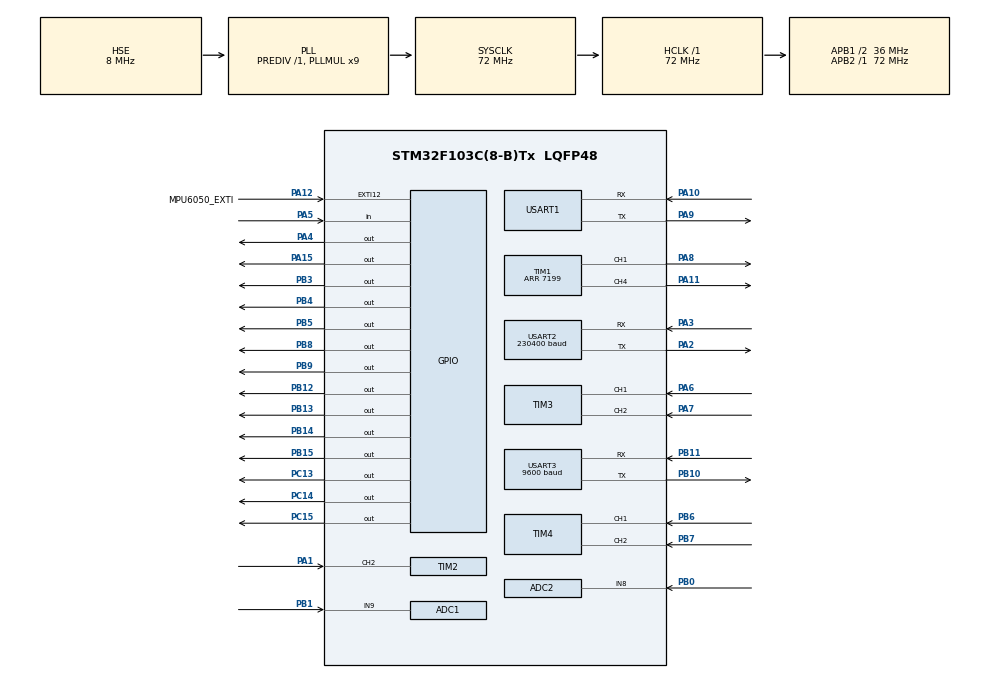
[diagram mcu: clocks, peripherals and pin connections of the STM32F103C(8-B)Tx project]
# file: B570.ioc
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ADC1.Channel-1\#ChannelRegularConversion=ADC_CHANNEL_9
ADC1.NbrOfConversionFlag=1
ADC1.Rank-1\#ChannelRegularConversion=1
ADC1.SamplingTime-1\#ChannelRegularConversion=ADC_SAMPLETIME_1CYCLE_5
ADC1.master=1
ADC2.Channel-0\#ChannelRegularConversion=ADC_CHANNEL_8
ADC2.NbrOfConversionFlag=1
ADC2.Rank-0\#ChannelRegularConversion=1
ADC2.SamplingTime-0\#ChannelRegularConversion=ADC_SAMPLETIME_1CYCLE_5
Mcu.Family=STM32F1
Mcu.Name=STM32F103C(8-B)Tx
Mcu.Package=LQFP48
NVIC.EXTI15_10_IRQn=true\:2\:1\:true\:false\:true\:true\:true
NVIC.PriorityGroup=NVIC_PRIORITYGROUP_2
NVIC.TIM2_IRQn=true\:1\:1\:true\:false\:true\:true\:true
NVIC.TIM3_IRQn=true\:1\:1\:true\:false\:true\:true\:true
NVIC.TIM4_IRQn=true\:1\:1\:true\:false\:true\:true\:true
NVIC.USART1_IRQn=true\:1\:1\:true\:false\:true\:true\:true
NVIC.USART2_IRQn=true\:1\:1\:true\:false\:true\:true\:true
NVIC.USART3_IRQn=true\:1\:1\:true\:false\:true\:true\:true
PA1.Signal=S_TIM2_CH2
PA10.Mode=Asynchronous
PA10.Signal=USART1_RX
PA11.Signal=S_TIM1_CH4
PA12.GPIO_Label=MPU6050_EXTI
PA12.Signal=GPXTI12
PA15.Signal=GPIO_Output
PA2.Mode=Asynchronous
PA2.Signal=USART2_TX
PA3.Mode=Asynchronous
PA3.Signal=USART2_RX
PA4.Signal=GPIO_Output
PA5.Signal=GPIO_Input
PA6.Signal=S_TIM3_CH1
PA7.Signal=S_TIM3_CH2
PA8.Signal=S_TIM1_CH1
PA9.Mode=Asynchronous
PA9.Signal=USART1_TX
PB0.Signal=ADCx_IN8
PB1.Signal=ADCx_IN9
PB10.Mode=Asynchronous
PB10.Signal=USART3_TX
PB11.Mode=Asynchronous
PB11.Signal=USART3_RX
PB12.Signal=GPIO_Output
PB13.Signal=GPIO_Output
PB14.Signal=GPIO_Output
PB15.Signal=GPIO_Output
PB3.Signal=GPIO_Output
PB4.Signal=GPIO_Output
PB5.Signal=GPIO_Output
PB6.Signal=S_TIM4_CH1
PB7.Signal=S_TIM4_CH2
PB8.Signal=GPIO_Output
PB9.Signal=GPIO_Output
PC13-TAMPER-RTC.Signal=GPIO_Output
PC14-OSC32_IN.Signal=GPIO_Output
PC15-OSC32_OUT.Signal=GPIO_Output
PD0-OSC_IN.Mode=HSE-External-Oscillator
PD0-OSC_IN.Signal=RCC_OSC_IN
PD1-OSC_OUT.Mode=HSE-External-Oscillator
PD1-OSC_OUT.Signal=RCC_OSC_OUT
ProjectManager.HeapSize=0x200
ProjectManager.StackSize=0x400
ProjectManager.TargetToolchain=MDK-ARM V5.32
RCC.ADCPresc=RCC_ADCPCLK2_DIV6
RCC.AHBFreq_Value=72000000
RCC.APB1CLKDivider=RCC_HCLK_DIV2
RCC.APB1Freq_Value=36000000
RCC.APB1TimFreq_Value=72000000
RCC.APB2Freq_Value=72000000
RCC.APB2TimFreq_Value=72000000
RCC.HCLKFreq_Value=72000000
RCC.PLLMUL=RCC_PLL_MUL9
RCC.PLLSourceVirtual=RCC_PLLSOURCE_HSE
RCC.SYSCLKFreq_VALUE=72000000
RCC.SYSCLKSource=RCC_SYSCLKSOURCE_PLLCLK
RCC.USBFreq_Value=72000000
SH.ADCx_IN8.0=ADC2_IN8,IN8
SH.ADCx_IN9.0=ADC1_IN9,IN9
SH.S_TIM1_CH1.0=TIM1_CH1,PWM Generation1 CH1
SH.S_TIM1_CH4.0=TIM1_CH4,PWM Generation4 CH4
SH.S_TIM2_CH2.0=TIM2_CH2,Input_Capture2_from_TI2
SH.S_TIM3_CH1.0=TIM3_CH1,Encoder_Interface
SH.S_TIM3_CH2.0=TIM3_CH2,Encoder_Interface
SH.S_TIM4_CH1.0=TIM4_CH1,Encoder_Interface
SH.S_TIM4_CH2.0=TIM4_CH2,Encoder_Interface
TIM1.AutoReloadPreload=TIM_AUTORELOAD_PRELOAD_ENABLE
TIM1.Channel-PWM\ Generation1\ CH1=TIM_CHANNEL_1
TIM1.Channel-PWM\ Generation4\ CH4=TIM_CHANNEL_4
TIM1.Period=7199
TIM2.Channel-Input_Capture2_from_TI2=TIM_CHANNEL_2
TIM2.Prescaler=71
TIM3.EncoderMode=TIM_ENCODERMODE_TI12
TIM4.EncoderMode=TIM_ENCODERMODE_TI12
USART1.VirtualMode=VM_ASYNC
USART2.BaudRate=230400
USART2.VirtualMode=VM_ASYNC
USART3.BaudRate=9600
USART3.VirtualMode=VM_ASYNC
VP_SYS_VS_ND.Mode=No_Debug
board=custom

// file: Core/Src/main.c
/* USER CODE BEGIN Header */
/**
  ******************************************************************************
  * @file           : main.c
  * @brief          : Main program body
  ******************************************************************************
  * @attention
  *
  * <h2><center>&copy; Copyright (c) 2021 STMicroelectronics.
  * All rights reserved.</center></h2>
  *
  * This software component is licensed by ST under BSD 3-Clause license,
  * the "License"; You may not use this file except in compliance with the
  * License. You may obtain a copy of the License at:
  *                        opensource.org/licenses/BSD-3-Clause
  *
  ******************************************************************************
  */
/* USER CODE END Header */
#include "main.h"
#include "adc.h"
#include "tim.h"
#include "usart.h"
#include "gpio.h"

/* USER CODE BEGIN Includes */
#include "sys.h"
#include "usart3.h"
/* USER CODE END Includes */

/* USER CODE BEGIN PTD */
u8 Way_Angle=2;                             //???????????1???????  2????????  3?????????
u8 Flag_front,Flag_back,Flag_Left,Flag_Right,Flag_velocity=2; //??????????????
u8 Flag_Stop=1,Flag_Show=0;                 //????????????????????  ????? ?????
int Motor_Left,Motor_Right;                 //???PWM???? ???Motor?? ??Moto???
int Temperature;                            //??????
int Voltage,Middle_angle;                   //????????????????
float Angle_Balance,Gyro_Balance,Gyro_Turn; //?????? ????????? ?????????
u8 LD_Successful_Receive_flag;              //?????????????????
u8 Mode = Cooperative_Mode;				//????????????
u8 CCD_Zhongzhi,CCD_Yuzhi;                  //CCD????????
u16 ADV[128]={0};                           //???CCD???????????
u16 determine;                              //??????????????????
float Move_X,Move_Z;			            //??????????
u32 Distance;                               //?????????
u8 PID_Send; 					                    	//??????????
u8 Flash_Send;                                       //Flash??????
u8 Flag_follow=0,Flag_avoid=0;							//?????????????????????????
float Acceleration_Z;                       //Z???????
volatile u8 delay_flag,delay_50;            //??????????
float Balance_Kp=25500,Balance_Kd=135,Velocity_Kp=16000,Velocity_Ki=80,Turn_Kp=4200,Turn_Kd=60;//PID?????????100??
float Yaw_Kp=360.0f,Yaw_Kd=24.0f;                    //?????PD????
int   Yaw_Limit=5000;                                  //??????????
u8 Cooperative_Mode_Flag=0;
u8 Last_Sent_Cmd=0;

/* USER CODE END PTD */

void SystemClock_Config(void);

int main(void)
{

  /* MCU Configuration--------------------------------------------------------*/

  /* Reset of all peripherals, Initializes the Flash interface and the Systick. */
  HAL_Init();

  /* Configure the system clock */
  SystemClock_Config();

  /* Initialize all configured peripherals */
  MX_GPIO_Init();
  MX_ADC1_Init();
  MX_ADC2_Init();
  MX_TIM1_Init();
  MX_TIM3_Init();
  MX_TIM4_Init();
  MX_USART1_UART_Init();
  MX_USART2_UART_Init();  //JDY-33 ???????
  MX_USART3_UART_Init();  //HC-05 ???????
  /* USER CODE BEGIN 2 */
	JTAG_Set(JTAG_SWD_DISABLE);     //???JTAG???
	JTAG_Set(SWD_ENABLE);           //??SWD??? ?????????????SWD??????
  delay_init();                   //???????????
  OLED_Init();                    //OLED?????
  MPU6050_initialize();           //MPU6050?????
	DMP_Init();                     //?????DMP
    while(Choose()) { }
	if(Mode==Ultrasonic_Avoid_Mode||Mode==Ultrasonic_Follow_Mode)
		  MX_TIM2_Init(); //???????????CCD??ELE???????????????CCD??ELE??????????????????????
	if(Mode==CCD_Line_Patrol_Mode)
		CCD_Init();
	if(Mode==ELE_Line_Patrol_Mode)
		ELE_Init();
	HAL_NVIC_EnableIRQ(EXTI15_10_IRQn); //??????????????
  /* USER CODE END 2 */

  /* Infinite loop */
  while (1)
  {

    /* USER CODE BEGIN 3 */
	  if(Flag_Show==0)          		//???MiniBalance APP??OLED?????
			{
//				Get_Angle(Way_Angle);
				 APP_Show();								//?????????APP
				 oled_show();          			//???????
			}
			else                      		//???MiniBalance?????? ?????????????????????????????app???????OLED?????
			{
				 DataScope();          			//????MiniBalance??????
			}
			//=====??????????????????????????=====//
			if(Mode == Cooperative_Mode)
			{
				u8 cmd = COOP_CMD_STOP;
				u8 turn_radius = 0;
				s8 speed = 15;
				if(Flag_Left==1)     { cmd = COOP_CMD_TURN_LEFT; turn_radius = 50; speed = Coop_Speed_Turn; }
				else if(Flag_Right==1)    { cmd = COOP_CMD_TURN_RIGHT; turn_radius = 50; speed = Coop_Speed_Turn; }
				else if(Flag_front==1)         { cmd = COOP_CMD_FORWARD; turn_radius = 0; speed = Coop_Speed_Base; }
				else if(Flag_back==1)     { cmd = COOP_CMD_BACKWARD; turn_radius = 0; speed = Coop_Speed_Base; }
				else                      { cmd = COOP_CMD_STOP; turn_radius = 0; speed = 0; }
				SendCooperativePacket(cmd, speed, Yaw, turn_radius);
			}
		  delay_flag=1;
		  delay_50=0;
			while(delay_flag);	     			//????????50ms	??????????delay?????????????????MPU6050??????50ms???
  }
  /* USER CODE END 3 */
}

void SystemClock_Config(void)
{
  RCC_OscInitTypeDef RCC_OscInitStruct = {0};
  RCC_ClkInitTypeDef RCC_ClkInitStruct = {0};
  RCC_PeriphCLKInitTypeDef PeriphClkInit = {0};

  /** Initializes the RCC Oscillators according to the specified parameters
  * in the RCC_OscInitTypeDef structure.
  */
  RCC_OscInitStruct.OscillatorType = RCC_OSCILLATORTYPE_HSE;
  RCC_OscInitStruct.HSEState = RCC_HSE_ON;
  RCC_OscInitStruct.HSEPredivValue = RCC_HSE_PREDIV_DIV1;
  RCC_OscInitStruct.HSIState = RCC_HSI_ON;
  RCC_OscInitStruct.PLL.PLLState = RCC_PLL_ON;
  RCC_OscInitStruct.PLL.PLLSource = RCC_PLLSOURCE_HSE;
  RCC_OscInitStruct.PLL.PLLMUL = RCC_PLL_MUL9;
  if (HAL_RCC_OscConfig(&RCC_OscInitStruct) != HAL_OK)
  {
    Error_Handler();
  }
  /** Initializes the CPU, AHB and APB buses clocks
  */
  RCC_ClkInitStruct.ClockType = RCC_CLOCKTYPE_HCLK|RCC_CLOCKTYPE_SYSCLK
                              |RCC_CLOCKTYPE_PCLK1|RCC_CLOCKTYPE_PCLK2;
  RCC_ClkInitStruct.SYSCLKSource = RCC_SYSCLKSOURCE_PLLCLK;
  RCC_ClkInitStruct.AHBCLKDivider = RCC_SYSCLK_DIV1;
  RCC_ClkInitStruct.APB1CLKDivider = RCC_HCLK_DIV2;
  RCC_ClkInitStruct.APB2CLKDivider = RCC_HCLK_DIV1;

  if (HAL_RCC_ClockConfig(&RCC_ClkInitStruct, FLASH_LATENCY_2) != HAL_OK)
  {
    Error_Handler();
  }
  PeriphClkInit.PeriphClockSelection = RCC_PERIPHCLK_ADC;
  PeriphClkInit.AdcClockSelection = RCC_ADCPCLK2_DIV6;
  if (HAL_RCCEx_PeriphCLKConfig(&PeriphClkInit) != HAL_OK)
  {
    Error_Handler();
  }
}

void Error_Handler(void)
{
  __disable_irq();
  while (1)
  {
  }
}

/************************ (C) COPYRIGHT STMicroelectronics *****END OF FILE****/
